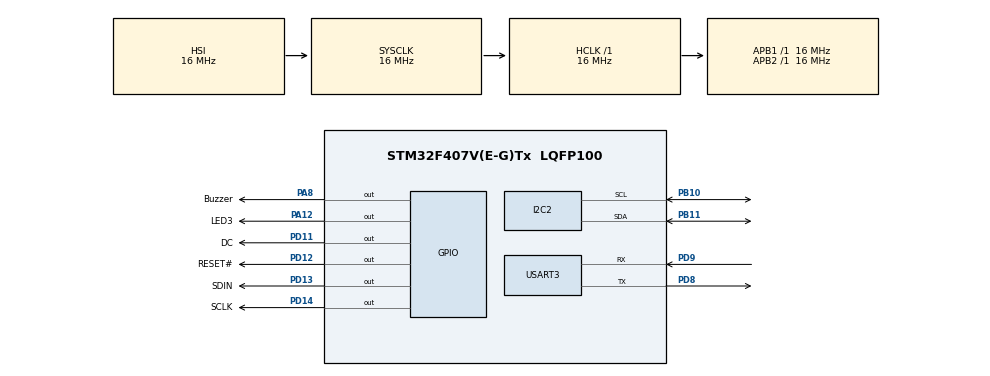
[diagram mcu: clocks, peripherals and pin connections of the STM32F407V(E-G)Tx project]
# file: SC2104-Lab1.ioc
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Mcu.Family=STM32F4
Mcu.Name=STM32F407V(E-G)Tx
Mcu.Package=LQFP100
NVIC.PriorityGroup=NVIC_PRIORITYGROUP_4
PA12.GPIO_Label=LED3
PA12.Signal=GPIO_Output
PA8.GPIO_Label=Buzzer
PA8.Signal=GPIO_Output
PB10.Mode=I2C
PB10.Signal=I2C2_SCL
PB11.Mode=I2C
PB11.Signal=I2C2_SDA
PD11.GPIO_Label=DC
PD11.Signal=GPIO_Output
PD12.GPIO_Label=RESET\#
PD12.Signal=GPIO_Output
PD13.GPIO_Label=SDIN
PD13.Signal=GPIO_Output
PD14.GPIO_Label=SCLK
PD14.Signal=GPIO_Output
PD8.Mode=Asynchronous
PD8.Signal=USART3_TX
PD9.Mode=Asynchronous
PD9.Signal=USART3_RX
ProjectManager.HeapSize=0x200
ProjectManager.StackSize=0x400
ProjectManager.TargetToolchain=STM32CubeIDE
RCC.AHBFreq_Value=16000000
RCC.APB1Freq_Value=16000000
RCC.APB2Freq_Value=16000000
RCC.CortexFreq_Value=16000000
RCC.HSE_VALUE=25000000
RCC.HSI_VALUE=16000000
RCC.LSE_VALUE=32768
RCC.SYSCLKFreq_VALUE=16000000
RCC.VCOOutputFreq_Value=192000000
USART3.VirtualMode=VM_ASYNC
board=custom

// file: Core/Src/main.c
/* USER CODE BEGIN Header */
/**
  ******************************************************************************
  * @file           : main.c
  * @brief          : Main program body
  ******************************************************************************
  * @attention
  *
  * Copyright (c) 2024 STMicroelectronics.
  * All rights reserved.
  *
  * This software is licensed under terms that can be found in the LICENSE file
  * in the root directory of this software component.
  * If no LICENSE file comes with this software, it is provided AS-IS.
  *
  ******************************************************************************
  */
/* USER CODE END Header */
#include "main.h"
#include "MPU6050.h"
#include "math.h"

/* USER CODE BEGIN Includes */
#include "oled.h"
/* USER CODE END Includes */

 I2C_HandleTypeDef hi2c2;

UART_HandleTypeDef huart3;

/* USER CODE BEGIN PV */
    IMU_Data imu;
 	uint8_t IMU_ADDR = 0x68<<1;

 	float a_pitch,a_roll;

/* USER CODE END PV */

void SystemClock_Config(void);
static void MX_GPIO_Init(void);
static void MX_USART3_UART_Init(void);
static void MX_I2C2_Init(void);

int main(void)
{
  /* USER CODE BEGIN 1 */
	//uint8_t sbuf[15] = "Hello World!\n\r";

	uint8_t *OLED_buf;

  /* USER CODE END 1 */

  /* MCU Configuration--------------------------------------------------------*/

  /* Reset of all peripherals, Initializes the Flash interface and the Systick. */
  HAL_Init();

  /* Configure the system clock */
  SystemClock_Config();

  /* Initialize all configured peripherals */
  MX_GPIO_Init();
  MX_USART3_UART_Init();
  MX_I2C2_Init();
  /* USER CODE BEGIN 2 */
  OLED_Init();
  //OLED_ShowString(10, 5,"SC2104/CE3002");

  //OLED_buf = "Lab 1";
  //OLED_ShowString(40,30,OLED_buf);
  //OLED_Refresh_Gram();

  char sbuf[100];
  float pre_acc_roll = 0.0;
  float pre_acc_pitch = 0.0;

  uint8_t status = IMU_Initialise(&imu,&hi2c2,&huart3);
  sprintf(sbuf,"Status = %d \n\r",status);

  /* USER CODE END 2 */

  /* Infinite loop */
  /* USER CODE BEGIN WHILE */
  while (1)
  {

	  IMU_AccelRead(&imu);
	  a_pitch = atan2(imu.acc[1]/9.8,imu.acc[2]/9.8) *(180/ 3.14159265359);
	  a_roll = atan2(imu.acc[0]/9.8,imu.acc[2]/9.8) *(180/ 3.14159265359);

	  sprintf(sbuf,"Pitch %.2f, Roll %.2f\n", a_pitch,a_roll);
	  HAL_UART_Transmit(&huart3,sbuf,sizeof(sbuf), HAL_MAX_DELAY);

	  //HAL_GPIO_WritePin(GPIOA,GPIO_PIN_12, GPIO_PIN_SET);
	  //HAL_Delay(1000);
	 // HAL_GPIO_WritePin(GPIOA,GPIO_PIN_12, GPIO_PIN_SET);
	  //HAL_Delay(1000);

	  //HAL_UART_Transmit(&huart3, sbuf, sizeof(sbuf), HAL_MAX_DELAY);

	  /*HAL_GPIO_WritePin(GPIOA,GPIO_PIN_8, GPIO_PIN_SET);
	  HAL_Delay(1000);
	  HAL_GPIO_WritePin(GPIOA,GPIO_PIN_8, GPIO_PIN_SET);
	  HAL_Delay(1000);*/

    /* USER CODE END WHILE */

  }
}

void SystemClock_Config(void)
{
  RCC_OscInitTypeDef RCC_OscInitStruct = {0};
  RCC_ClkInitTypeDef RCC_ClkInitStruct = {0};

  /** Configure the main internal regulator output voltage
  */
  __HAL_RCC_PWR_CLK_ENABLE();
  __HAL_PWR_VOLTAGESCALING_CONFIG(PWR_REGULATOR_VOLTAGE_SCALE1);

  /** Initializes the RCC Oscillators according to the specified parameters
  * in the RCC_OscInitTypeDef structure.
  */
  RCC_OscInitStruct.OscillatorType = RCC_OSCILLATORTYPE_HSI;
  RCC_OscInitStruct.HSIState = RCC_HSI_ON;
  RCC_OscInitStruct.HSICalibrationValue = RCC_HSICALIBRATION_DEFAULT;
  RCC_OscInitStruct.PLL.PLLState = RCC_PLL_NONE;
  if (HAL_RCC_OscConfig(&RCC_OscInitStruct) != HAL_OK)
  {
    Error_Handler();
  }

  /** Initializes the CPU, AHB and APB buses clocks
  */
  RCC_ClkInitStruct.ClockType = RCC_CLOCKTYPE_HCLK|RCC_CLOCKTYPE_SYSCLK
                              |RCC_CLOCKTYPE_PCLK1|RCC_CLOCKTYPE_PCLK2;
  RCC_ClkInitStruct.SYSCLKSource = RCC_SYSCLKSOURCE_HSI;
  RCC_ClkInitStruct.AHBCLKDivider = RCC_SYSCLK_DIV1;
  RCC_ClkInitStruct.APB1CLKDivider = RCC_HCLK_DIV1;
  RCC_ClkInitStruct.APB2CLKDivider = RCC_HCLK_DIV1;

  if (HAL_RCC_ClockConfig(&RCC_ClkInitStruct, FLASH_LATENCY_0) != HAL_OK)
  {
    Error_Handler();
  }
}

static void MX_I2C2_Init(void)
{

  hi2c2.Instance = I2C2;
  hi2c2.Init.ClockSpeed = 100000;
  hi2c2.Init.DutyCycle = I2C_DUTYCYCLE_2;
  hi2c2.Init.OwnAddress1 = 0;
  hi2c2.Init.AddressingMode = I2C_ADDRESSINGMODE_7BIT;
  hi2c2.Init.DualAddressMode = I2C_DUALADDRESS_DISABLE;
  hi2c2.Init.OwnAddress2 = 0;
  hi2c2.Init.GeneralCallMode = I2C_GENERALCALL_DISABLE;
  hi2c2.Init.NoStretchMode = I2C_NOSTRETCH_DISABLE;
  if (HAL_I2C_Init(&hi2c2) != HAL_OK)
  {
    Error_Handler();
  }

}

static void MX_USART3_UART_Init(void)
{

  huart3.Instance = USART3;
  huart3.Init.BaudRate = 115200;
  huart3.Init.WordLength = UART_WORDLENGTH_8B;
  huart3.Init.StopBits = UART_STOPBITS_1;
  huart3.Init.Parity = UART_PARITY_NONE;
  huart3.Init.Mode = UART_MODE_TX_RX;
  huart3.Init.HwFlowCtl = UART_HWCONTROL_NONE;
  huart3.Init.OverSampling = UART_OVERSAMPLING_16;
  if (HAL_UART_Init(&huart3) != HAL_OK)
  {
    Error_Handler();
  }

}

static void MX_GPIO_Init(void)
{
  GPIO_InitTypeDef GPIO_InitStruct = {0};

  /* GPIO Ports Clock Enable */
  __HAL_RCC_GPIOB_CLK_ENABLE();
  __HAL_RCC_GPIOD_CLK_ENABLE();
  __HAL_RCC_GPIOA_CLK_ENABLE();

  /*Configure GPIO pin Output Level */
  HAL_GPIO_WritePin(GPIOD, DC_Pin|RESET__Pin|SDIN_Pin|SCLK_Pin, GPIO_PIN_RESET);

  /*Configure GPIO pin Output Level */
  HAL_GPIO_WritePin(GPIOA, Buzzer_Pin|LED3_Pin, GPIO_PIN_RESET);

  /*Configure GPIO pins : DC_Pin RESET__Pin SDIN_Pin SCLK_Pin */
  GPIO_InitStruct.Pin = DC_Pin|RESET__Pin|SDIN_Pin|SCLK_Pin;
  GPIO_InitStruct.Mode = GPIO_MODE_OUTPUT_PP;
  GPIO_InitStruct.Pull = GPIO_NOPULL;
  GPIO_InitStruct.Speed = GPIO_SPEED_FREQ_LOW;
  HAL_GPIO_Init(GPIOD, &GPIO_InitStruct);

  /*Configure GPIO pins : Buzzer_Pin LED3_Pin */
  GPIO_InitStruct.Pin = Buzzer_Pin|LED3_Pin;
  GPIO_InitStruct.Mode = GPIO_MODE_OUTPUT_PP;
  GPIO_InitStruct.Pull = GPIO_NOPULL;
  GPIO_InitStruct.Speed = GPIO_SPEED_FREQ_LOW;
  HAL_GPIO_Init(GPIOA, &GPIO_InitStruct);

}

void Error_Handler(void)
{
  __disable_irq();
  while (1)
  {
  }
}
